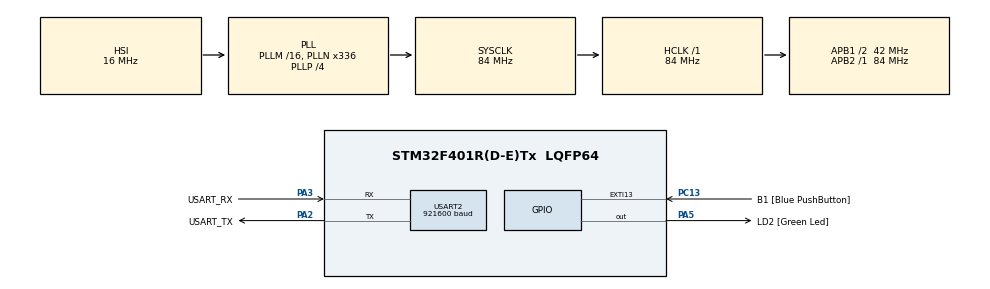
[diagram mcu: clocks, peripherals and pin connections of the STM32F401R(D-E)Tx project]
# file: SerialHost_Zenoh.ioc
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Dma.Request0=USART2_RX
Dma.Request1=USART2_TX
Dma.USART2_RX.0.Direction=DMA_PERIPH_TO_MEMORY
Dma.USART2_RX.0.FIFOMode=DMA_FIFOMODE_DISABLE
Dma.USART2_RX.0.Instance=DMA1_Stream5
Dma.USART2_RX.0.MemDataAlignment=DMA_MDATAALIGN_BYTE
Dma.USART2_RX.0.MemInc=DMA_MINC_ENABLE
Dma.USART2_RX.0.Mode=DMA_CIRCULAR
Dma.USART2_RX.0.PeriphDataAlignment=DMA_PDATAALIGN_BYTE
Dma.USART2_RX.0.PeriphInc=DMA_PINC_DISABLE
Dma.USART2_RX.0.Priority=DMA_PRIORITY_LOW
Dma.USART2_TX.1.Direction=DMA_MEMORY_TO_PERIPH
Dma.USART2_TX.1.FIFOMode=DMA_FIFOMODE_DISABLE
Dma.USART2_TX.1.Instance=DMA1_Stream6
Dma.USART2_TX.1.MemDataAlignment=DMA_MDATAALIGN_BYTE
Dma.USART2_TX.1.MemInc=DMA_MINC_ENABLE
Dma.USART2_TX.1.Mode=DMA_NORMAL
Dma.USART2_TX.1.PeriphDataAlignment=DMA_PDATAALIGN_BYTE
Dma.USART2_TX.1.PeriphInc=DMA_PINC_DISABLE
Dma.USART2_TX.1.Priority=DMA_PRIORITY_LOW
FREERTOS.Events01=bootEvents,Dynamic,NULL
FREERTOS.Tasks01=defaultTask,24,2048,StartDefaultTask,Default,NULL,Static,defaultTaskBuffer,defaultTaskControlBlock;serialPortTask,24,256,StartSerialPortTask,Default,NULL,Static,serialPortTaskBuffer,serialPortTaskControlBlock
FREERTOS.configGENERATE_RUN_TIME_STATS=1
FREERTOS.configRECORD_STACK_HIGH_ADDRESS=1
FREERTOS.configUSE_NEWLIB_REENTRANT=1
FREERTOS.configUSE_STATS_FORMATTING_FUNCTIONS=1
Mcu.Family=STM32F4
Mcu.Name=STM32F401R(D-E)Tx
Mcu.Package=LQFP64
NVIC.DMA1_Stream5_IRQn=true\:5\:0\:false\:false\:true\:true\:false\:true\:true
NVIC.DMA1_Stream6_IRQn=true\:5\:0\:false\:false\:true\:true\:false\:true\:true
NVIC.PriorityGroup=NVIC_PRIORITYGROUP_4
NVIC.TIM1_TRG_COM_TIM11_IRQn=true\:15\:0\:false\:false\:true\:false\:false\:true\:true
NVIC.TimeBase=TIM1_TRG_COM_TIM11_IRQn
NVIC.TimeBaseIP=TIM11
NVIC.USART2_IRQn=true\:5\:0\:false\:false\:true\:true\:true\:true\:true
PA13.GPIO_Label=TMS
PA13.Mode=Serial_Wire
PA13.Signal=SYS_JTMS-SWDIO
PA14.GPIO_Label=TCK
PA14.Mode=Serial_Wire
PA14.Signal=SYS_JTCK-SWCLK
PA2.GPIO_Label=USART_TX
PA2.GPIO_Mode=GPIO_MODE_AF_PP
PA2.GPIO_PuPd=GPIO_NOPULL
PA2.GPIO_Speed=GPIO_SPEED_FREQ_HIGH
PA2.Mode=Asynchronous
PA2.Signal=USART2_TX
PA3.GPIO_Label=USART_RX
PA3.GPIO_Mode=GPIO_MODE_AF_PP
PA3.GPIO_PuPd=GPIO_NOPULL
PA3.GPIO_Speed=GPIO_SPEED_FREQ_HIGH
PA3.Mode=Asynchronous
PA3.Signal=USART2_RX
PA5.GPIO_Label=LD2 [Green Led]
PA5.GPIO_Mode=GPIO_MODE_OUTPUT_PP
PA5.GPIO_PuPd=GPIO_NOPULL
PA5.GPIO_Speed=GPIO_SPEED_FREQ_LOW
PA5.Signal=GPIO_Output
PB3.GPIO_Label=SWO
PB3.Signal=SYS_JTDO-SWO
PC13-ANTI_TAMP.GPIO_Label=B1 [Blue PushButton]
PC13-ANTI_TAMP.GPIO_ModeDefaultEXTI=GPIO_MODE_IT_FALLING
PC13-ANTI_TAMP.GPIO_PuPd=GPIO_NOPULL
PC13-ANTI_TAMP.Signal=GPXTI13
PC14-OSC32_IN.Mode=LSE-External-Oscillator
PC14-OSC32_IN.Signal=RCC_OSC32_IN
PC15-OSC32_OUT.Mode=LSE-External-Oscillator
PC15-OSC32_OUT.Signal=RCC_OSC32_OUT
PH0\ -\ OSC_IN.Mode=HSE-External-Clock-Source
PH0\ -\ OSC_IN.Signal=RCC_OSC_IN
PH1\ -\ OSC_OUT.Mode=HSE-External-Clock-Source
PH1\ -\ OSC_OUT.Signal=RCC_OSC_OUT
ProjectManager.HeapSize=0x200
ProjectManager.StackSize=0x400
ProjectManager.TargetToolchain=STM32CubeIDE
RCC.48MHZClocksFreq_Value=48000000
RCC.AHBFreq_Value=84000000
RCC.APB1CLKDivider=RCC_HCLK_DIV2
RCC.APB1Freq_Value=42000000
RCC.APB1TimFreq_Value=84000000
RCC.APB2Freq_Value=84000000
RCC.APB2TimFreq_Value=84000000
RCC.CortexFreq_Value=84000000
RCC.HCLKFreq_Value=84000000
RCC.HSE_VALUE=8000000
RCC.HSI_VALUE=16000000
RCC.PLLN=336
RCC.PLLP=RCC_PLLP_DIV4
RCC.PLLQ=7
RCC.SYSCLKFreq_VALUE=84000000
RCC.SYSCLKSource=RCC_SYSCLKSOURCE_PLLCLK
RCC.VCOOutputFreq_Value=336000000
USART2.BaudRate=921600
USART2.VirtualMode=VM_ASYNC
VP_FREERTOS_VS_CMSIS_V2.Mode=CMSIS_V2
VP_SYS_VS_tim11.Mode=TIM11
board=NUCLEO-F401RE

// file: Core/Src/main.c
/* USER CODE BEGIN Header */
/**
  ******************************************************************************
  * @file           : main.c
  * @brief          : Main program body
  ******************************************************************************
  * @attention
  *
  * Copyright (c) 2023 STMicroelectronics.
  * All rights reserved.
  *
  * This software is licensed under terms that can be found in the LICENSE file
  * in the root directory of this software component.
  * If no LICENSE file comes with this software, it is provided AS-IS.
  *
  ******************************************************************************
  */
/* USER CODE END Header */
#include "main.h"
#include "cmsis_os.h"
#include "dma.h"
#include "usart.h"
#include "gpio.h"

void SystemClock_Config(void);
void MX_FREERTOS_Init(void);

int main(void)
{

  /* MCU Configuration--------------------------------------------------------*/

  /* Reset of all peripherals, Initializes the Flash interface and the Systick. */
  HAL_Init();

  /* Configure the system clock */
  SystemClock_Config();

  /* Initialize all configured peripherals */
  MX_GPIO_Init();
  MX_DMA_Init();
  MX_USART2_UART_Init();

  /* Init scheduler */
  osKernelInitialize();

  /* Call init function for freertos objects (in cmsis_os2.c) */
  MX_FREERTOS_Init();

  /* Start scheduler */
  osKernelStart();

  /* We should never get here as control is now taken by the scheduler */

  /* Infinite loop */
  while (1)
  {

  }
}

void SystemClock_Config(void)
{
  RCC_OscInitTypeDef RCC_OscInitStruct = {0};
  RCC_ClkInitTypeDef RCC_ClkInitStruct = {0};

  /** Configure the main internal regulator output voltage
  */
  __HAL_RCC_PWR_CLK_ENABLE();
  __HAL_PWR_VOLTAGESCALING_CONFIG(PWR_REGULATOR_VOLTAGE_SCALE2);

  /** Initializes the RCC Oscillators according to the specified parameters
  * in the RCC_OscInitTypeDef structure.
  */
  RCC_OscInitStruct.OscillatorType = RCC_OSCILLATORTYPE_HSI;
  RCC_OscInitStruct.HSIState = RCC_HSI_ON;
  RCC_OscInitStruct.HSICalibrationValue = RCC_HSICALIBRATION_DEFAULT;
  RCC_OscInitStruct.PLL.PLLState = RCC_PLL_ON;
  RCC_OscInitStruct.PLL.PLLSource = RCC_PLLSOURCE_HSI;
  RCC_OscInitStruct.PLL.PLLM = 16;
  RCC_OscInitStruct.PLL.PLLN = 336;
  RCC_OscInitStruct.PLL.PLLP = RCC_PLLP_DIV4;
  RCC_OscInitStruct.PLL.PLLQ = 7;
  if (HAL_RCC_OscConfig(&RCC_OscInitStruct) != HAL_OK)
  {
    Error_Handler();
  }

  /** Initializes the CPU, AHB and APB buses clocks
  */
  RCC_ClkInitStruct.ClockType = RCC_CLOCKTYPE_HCLK|RCC_CLOCKTYPE_SYSCLK
                              |RCC_CLOCKTYPE_PCLK1|RCC_CLOCKTYPE_PCLK2;
  RCC_ClkInitStruct.SYSCLKSource = RCC_SYSCLKSOURCE_PLLCLK;
  RCC_ClkInitStruct.AHBCLKDivider = RCC_SYSCLK_DIV1;
  RCC_ClkInitStruct.APB1CLKDivider = RCC_HCLK_DIV2;
  RCC_ClkInitStruct.APB2CLKDivider = RCC_HCLK_DIV1;

  if (HAL_RCC_ClockConfig(&RCC_ClkInitStruct, FLASH_LATENCY_2) != HAL_OK)
  {
    Error_Handler();
  }
}

void HAL_TIM_PeriodElapsedCallback(TIM_HandleTypeDef *htim)
{
  if (htim->Instance == TIM11)
  {
    HAL_IncTick();
  }
}

void Error_Handler(void)
{
  __disable_irq();
  while (1)
  {
  }
}

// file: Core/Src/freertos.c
/* USER CODE BEGIN Header */
/**
  ******************************************************************************
  * File Name          : freertos.c
  * Description        : Code for freertos applications
  ******************************************************************************
  * @attention
  *
  * Copyright (c) 2023 STMicroelectronics.
  * All rights reserved.
  *
  * This software is licensed under terms that can be found in the LICENSE file
  * in the root directory of this software component.
  * If no LICENSE file comes with this software, it is provided AS-IS.
  *
  ******************************************************************************
  */
/* USER CODE END Header */

#include "FreeRTOS.h"
#include "task.h"
#include "main.h"
#include "cmsis_os.h"

/* USER CODE BEGIN Includes */
#include "stream_buffer.h"
#include "usart.h"
#include "zenoh-pico/config.h"
#include "zenoh.h"
/* USER CODE END Includes */

typedef StaticTask_t osStaticThreadDef_t;

/* USER CODE BEGIN PD */
#define SYS_READY					(1 << 0)
#define COM_READY					(1 << 1)
#define SERIAL_BUFFER_SIZE			32
#define SERIAL_STREAM_BUFFER_SIZE	1024
/* USER CODE END PD */

/* USER CODE BEGIN Variables */
static uint8_t rxBuffer[SERIAL_BUFFER_SIZE];
static uint8_t txBuffer[SERIAL_BUFFER_SIZE];
static volatile size_t rxBufferHead;
static volatile uint8_t rxEnable;
static uint8_t ucSerialRxStreamBufferStorage[SERIAL_STREAM_BUFFER_SIZE + 1];
static StaticStreamBuffer_t xSerialRxStreamBufferStruct;
StreamBufferHandle_t xSerialRxStreamBuffer;
static uint8_t ucSerialTxStreamBufferStorage[SERIAL_STREAM_BUFFER_SIZE + 1];
static StaticStreamBuffer_t xSerialTxStreamBufferStruct;
StreamBufferHandle_t xSerialTxStreamBuffer;
/* USER CODE END Variables */
/* Definitions for defaultTask */
osThreadId_t defaultTaskHandle;
uint32_t defaultTaskBuffer[ 2048 ];
osStaticThreadDef_t defaultTaskControlBlock;
const osThreadAttr_t defaultTask_attributes = {
  .name = "defaultTask",
  .cb_mem = &defaultTaskControlBlock,
  .cb_size = sizeof(defaultTaskControlBlock),
  .stack_mem = &defaultTaskBuffer[0],
  .stack_size = sizeof(defaultTaskBuffer),
  .priority = (osPriority_t) osPriorityNormal,
};
/* Definitions for serialPortTask */
osThreadId_t serialPortTaskHandle;
uint32_t serialPortTaskBuffer[ 256 ];
osStaticThreadDef_t serialPortTaskControlBlock;
const osThreadAttr_t serialPortTask_attributes = {
  .name = "serialPortTask",
  .cb_mem = &serialPortTaskControlBlock,
  .cb_size = sizeof(serialPortTaskControlBlock),
  .stack_mem = &serialPortTaskBuffer[0],
  .stack_size = sizeof(serialPortTaskBuffer),
  .priority = (osPriority_t) osPriorityNormal,
};
/* Definitions for bootEvents */
osEventFlagsId_t bootEventsHandle;
const osEventFlagsAttr_t bootEvents_attributes = {
  .name = "bootEvents"
};

void StartDefaultTask(void *argument);
void StartSerialPortTask(void *argument);

void MX_FREERTOS_Init(void); /* (MISRA C 2004 rule 8.1) */

/* Hook prototypes */
void configureTimerForRunTimeStats(void);
unsigned long getRunTimeCounterValue(void);

/* USER CODE BEGIN 1 */
/* Functions needed when configGENERATE_RUN_TIME_STATS is on */
__weak void configureTimerForRunTimeStats(void)
{
	CoreDebug->DEMCR |= CoreDebug_DEMCR_TRCENA_Msk;
	DWT->CTRL |= 1;
	DWT->CYCCNT = 0;
}

__weak unsigned long getRunTimeCounterValue(void)
{
return DWT->CYCCNT;
}
/* USER CODE END 1 */

void MX_FREERTOS_Init(void) {

  /* USER CODE BEGIN RTOS_QUEUES */
  /* add queues, ... */
  xSerialRxStreamBuffer = xStreamBufferCreateStatic(
		  SERIAL_STREAM_BUFFER_SIZE, 1,
		  ucSerialRxStreamBufferStorage,
		  &xSerialRxStreamBufferStruct);
  xSerialTxStreamBuffer = xStreamBufferCreateStatic(
		  SERIAL_STREAM_BUFFER_SIZE, 1,
		  ucSerialTxStreamBufferStorage,
		  &xSerialTxStreamBufferStruct);
  /* USER CODE END RTOS_QUEUES */

  /* Create the thread(s) */
  /* creation of defaultTask */
  defaultTaskHandle = osThreadNew(StartDefaultTask, NULL, &defaultTask_attributes);

  /* creation of serialPortTask */
  serialPortTaskHandle = osThreadNew(StartSerialPortTask, NULL, &serialPortTask_attributes);

  /* Create the event(s) */
  /* creation of bootEvents */
  bootEventsHandle = osEventFlagsNew(&bootEvents_attributes);

}

void StartDefaultTask(void *argument)
{
  /* USER CODE BEGIN StartDefaultTask */
  GPIO_PinState st = GPIO_PIN_RESET;
  TickType_t last = xTaskGetTickCount();

  // Startup application
  osEventFlagsSet(bootEventsHandle, SYS_READY);

  // Wait for the tasks to become ready
  osEventFlagsWait(bootEventsHandle, COM_READY, osFlagsWaitAll | osFlagsNoClear, osWaitForever);

  // Initialize Zenoh services
  rxEnable = 1;
  if (Z_Init() < 0) {
	Error_Handler();
  }

  /* Infinite loop */
  for(;;)
  {
	GPIO_PinState _st = HAL_GPIO_ReadPin(B1_GPIO_Port, B1_Pin);
	TickType_t now = xTaskGetTickCount();
	if (_st != st) {
		if (_st == GPIO_PIN_SET) {
			Z_GetAsync();
		} else {
			Z_GetSync();
		}
		st = _st;
	} else if (now - last >= 1000) {
		Z_TickCount(osKernelGetTickCount());
		last = now;
	}
	osDelay(10);
  }
  /* USER CODE END StartDefaultTask */
}

void StartSerialPortTask(void *argument)
{
  /* USER CODE BEGIN StartSerialPortTask */
  size_t received;

  // Start receiving data from UART to the circular buffer
  rxBufferHead = 0;
  rxEnable = 0;
  HAL_UARTEx_ReceiveToIdle_DMA(&huart2, rxBuffer, sizeof(rxBuffer));

  osEventFlagsWait(bootEventsHandle, SYS_READY, osFlagsNoClear, osWaitForever);
  osEventFlagsSet(bootEventsHandle, COM_READY);

  /* Infinite loop */
  for(;;)
  {
	// Transmit buffer data over the UART interface
	received = xStreamBufferReceive(
			xSerialTxStreamBuffer,
			txBuffer, sizeof(txBuffer),
			portMAX_DELAY);
	HAL_UART_Transmit_DMA(&huart2, txBuffer, received);
	ulTaskNotifyTake(pdFALSE, portMAX_DELAY);
  }
  /* USER CODE END StartSerialPortTask */
}

/* USER CODE BEGIN Application */
void HAL_UARTEx_RxEventCallback(UART_HandleTypeDef *huart, uint16_t Size)
{
	BaseType_t xHigherPriorityTaskWoken = pdFALSE;

	if (huart == Z_UART) {

		// This callback is called on the following events:
		// 	RxHalfCplt : from HAL_DMA_IRQHandler, Size == sizeof(rxBuffer) / 2
		//	RxCplt     : from HAL_DMA_IRQHandler, Size == sizeof(rxBuffer)
		//	Idle       : from HAL_UART_IRQHandler, rxBufferHead < Size < sizeof(rxBuffer)

		// Push the incoming data to the RX stream-buffer
		if (Size > rxBufferHead) {	// unprocessed data available
			Size -= rxBufferHead;
			if (rxEnable) {
				Size = xStreamBufferSendFromISR(xSerialRxStreamBuffer,
						rxBuffer + rxBufferHead, Size,
						&xHigherPriorityTaskWoken);
			}
			rxBufferHead += Size;
			rxBufferHead %= sizeof(rxBuffer);
		}

	}

	portYIELD_FROM_ISR(xHigherPriorityTaskWoken);
}

void HAL_UART_TxCpltCallback(UART_HandleTypeDef *huart)
{
	if (huart == Z_UART) {
		// Notify the send task that all data has been sent
		BaseType_t xHigherPriorityTaskWoken = pdFALSE;
		vTaskNotifyGiveFromISR(serialPortTaskHandle, &xHigherPriorityTaskWoken);
		portYIELD_FROM_ISR(xHigherPriorityTaskWoken);
	}
}

void HAL_UART_ErrorCallback(UART_HandleTypeDef *huart)
{
	if (huart == Z_UART) {
		// Restart reception on error
		HAL_UART_Abort(&huart2);
		HAL_UARTEx_ReceiveToIdle_DMA(&huart2, rxBuffer, sizeof(rxBuffer));
	}
}
/* USER CODE END Application */
